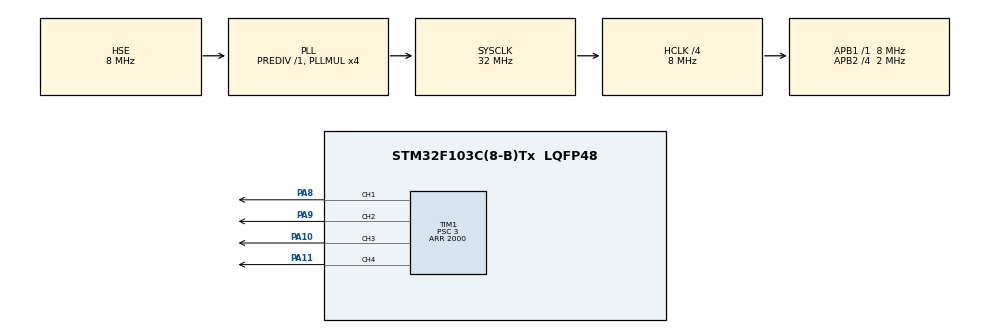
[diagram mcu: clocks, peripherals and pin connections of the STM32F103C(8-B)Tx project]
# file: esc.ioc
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Mcu.Family=STM32F1
Mcu.Name=STM32F103C(8-B)Tx
Mcu.Package=LQFP48
NVIC.PriorityGroup=NVIC_PRIORITYGROUP_4
PA10.Signal=S_TIM1_CH3
PA11.Signal=S_TIM1_CH4
PA13.Mode=Serial_Wire
PA13.Signal=SYS_JTMS-SWDIO
PA14.Mode=Serial_Wire
PA14.Signal=SYS_JTCK-SWCLK
PA8.Signal=S_TIM1_CH1
PA9.Signal=S_TIM1_CH2
PD0-OSC_IN.Mode=HSE-External-Oscillator
PD0-OSC_IN.Signal=RCC_OSC_IN
PD1-OSC_OUT.Mode=HSE-External-Oscillator
PD1-OSC_OUT.Signal=RCC_OSC_OUT
ProjectManager.HeapSize=0x200
ProjectManager.StackSize=0x400
ProjectManager.TargetToolchain=STM32CubeIDE
RCC.AHBCLKDivider=RCC_SYSCLK_DIV4
RCC.AHBFreq_Value=8000000
RCC.APB1Freq_Value=8000000
RCC.APB1TimFreq_Value=8000000
RCC.APB2CLKDivider=RCC_HCLK_DIV4
RCC.APB2Freq_Value=2000000
RCC.APB2TimFreq_Value=4000000
RCC.HCLKFreq_Value=8000000
RCC.PLLMUL=RCC_PLL_MUL4
RCC.PLLSourceVirtual=RCC_PLLSOURCE_HSE
RCC.SYSCLKFreq_VALUE=32000000
RCC.SYSCLKSource=RCC_SYSCLKSOURCE_PLLCLK
RCC.USBFreq_Value=32000000
SH.S_TIM1_CH1.0=TIM1_CH1,PWM Generation1 CH1
SH.S_TIM1_CH2.0=TIM1_CH2,PWM Generation2 CH2
SH.S_TIM1_CH3.0=TIM1_CH3,PWM Generation3 CH3
SH.S_TIM1_CH4.0=TIM1_CH4,PWM Generation4 CH4
TIM1.AutoReloadPreload=TIM_AUTORELOAD_PRELOAD_DISABLE
TIM1.Channel-PWM\ Generation1\ CH1=TIM_CHANNEL_1
TIM1.Channel-PWM\ Generation2\ CH2=TIM_CHANNEL_2
TIM1.Channel-PWM\ Generation3\ CH3=TIM_CHANNEL_3
TIM1.Channel-PWM\ Generation4\ CH4=TIM_CHANNEL_4
TIM1.Period=2000
TIM1.Prescaler=3
TIM1.Pulse-PWM\ Generation1\ CH1=100
VP_TIM1_VS_ClockSourceINT.Mode=Internal
board=custom

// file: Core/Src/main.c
/* USER CODE BEGIN Header */
/**
  ******************************************************************************
  * @file           : main.c
  * @brief          : Main program body
  ******************************************************************************
  * @attention
  *
  * <h2><center>&copy; Copyright (c) 2019 STMicroelectronics.
  * All rights reserved.</center></h2>
  *
  * This software component is licensed by ST under BSD 3-Clause license,
  * the "License"; You may not use this file except in compliance with the
  * License. You may obtain a copy of the License at:
  *                        opensource.org/licenses/BSD-3-Clause
  *
  ******************************************************************************
  */
/* USER CODE END Header */

#include "main.h"

TIM_HandleTypeDef htim1;

void SystemClock_Config(void);
static void MX_GPIO_Init(void);
static void MX_TIM1_Init(void);

int main(void)
{

  /* MCU Configuration--------------------------------------------------------*/

  /* Reset of all peripherals, Initializes the Flash interface and the Systick. */
  HAL_Init();

  /* Configure the system clock */
  SystemClock_Config();

  /* Initialize all configured peripherals */
  MX_GPIO_Init();
  MX_TIM1_Init();
  /* USER CODE BEGIN 2 */

// Start PWM at Port-B pin#6
    HAL_TIM_PWM_Start(&htim1,TIM_CHANNEL_1);
    HAL_TIM_PWM_Start(&htim1,TIM_CHANNEL_2);
    HAL_TIM_PWM_Start(&htim1,TIM_CHANNEL_3);
    HAL_TIM_PWM_Start(&htim1,TIM_CHANNEL_4);
    __HAL_TIM_SET_COMPARE(&htim1, TIM_CHANNEL_1, 1000);
    __HAL_TIM_SET_COMPARE(&htim1, TIM_CHANNEL_2, 1000);
    __HAL_TIM_SET_COMPARE(&htim1, TIM_CHANNEL_3, 1000);
    __HAL_TIM_SET_COMPARE(&htim1, TIM_CHANNEL_4, 1000);
    HAL_Delay(3000);
  /* USER CODE END 2 */

  /* Infinite loop */
  while (1)
  {

    /* USER CODE BEGIN 3 */
      for(int i = 1000; i< 1900; i+=10){
	  __HAL_TIM_SET_COMPARE(&htim1, TIM_CHANNEL_1, i);
	  __HAL_TIM_SET_COMPARE(&htim1, TIM_CHANNEL_2, i);
	  __HAL_TIM_SET_COMPARE(&htim1, TIM_CHANNEL_3, i);
	  __HAL_TIM_SET_COMPARE(&htim1, TIM_CHANNEL_4, i);
	  HAL_Delay(100);
      }
      for(int i = 1900; i> 1000; i-=10){
   	  __HAL_TIM_SET_COMPARE(&htim1, TIM_CHANNEL_1, i);
   	  __HAL_TIM_SET_COMPARE(&htim1, TIM_CHANNEL_2, i);
	  __HAL_TIM_SET_COMPARE(&htim1, TIM_CHANNEL_3, i);
	  __HAL_TIM_SET_COMPARE(&htim1, TIM_CHANNEL_4, i);
   	  HAL_Delay(100);
         }

//	  __HAL_TIM_SET_COMPARE(&htim4, TIM_CHANNEL_1, 100);
  }
  /* USER CODE END 3 */
}

void SystemClock_Config(void)
{
  RCC_OscInitTypeDef RCC_OscInitStruct = {0};
  RCC_ClkInitTypeDef RCC_ClkInitStruct = {0};

  /** Initializes the CPU, AHB and APB busses clocks
  */
  RCC_OscInitStruct.OscillatorType = RCC_OSCILLATORTYPE_HSE;
  RCC_OscInitStruct.HSEState = RCC_HSE_ON;
  RCC_OscInitStruct.HSEPredivValue = RCC_HSE_PREDIV_DIV1;
  RCC_OscInitStruct.HSIState = RCC_HSI_ON;
  RCC_OscInitStruct.PLL.PLLState = RCC_PLL_ON;
  RCC_OscInitStruct.PLL.PLLSource = RCC_PLLSOURCE_HSE;
  RCC_OscInitStruct.PLL.PLLMUL = RCC_PLL_MUL4;
  if (HAL_RCC_OscConfig(&RCC_OscInitStruct) != HAL_OK)
  {
    Error_Handler();
  }
  /** Initializes the CPU, AHB and APB busses clocks
  */
  RCC_ClkInitStruct.ClockType = RCC_CLOCKTYPE_HCLK|RCC_CLOCKTYPE_SYSCLK
                              |RCC_CLOCKTYPE_PCLK1|RCC_CLOCKTYPE_PCLK2;
  RCC_ClkInitStruct.SYSCLKSource = RCC_SYSCLKSOURCE_PLLCLK;
  RCC_ClkInitStruct.AHBCLKDivider = RCC_SYSCLK_DIV4;
  RCC_ClkInitStruct.APB1CLKDivider = RCC_HCLK_DIV1;
  RCC_ClkInitStruct.APB2CLKDivider = RCC_HCLK_DIV4;

  if (HAL_RCC_ClockConfig(&RCC_ClkInitStruct, FLASH_LATENCY_1) != HAL_OK)
  {
    Error_Handler();
  }
}

static void MX_TIM1_Init(void)
{

  TIM_ClockConfigTypeDef sClockSourceConfig = {0};
  TIM_MasterConfigTypeDef sMasterConfig = {0};
  TIM_OC_InitTypeDef sConfigOC = {0};
  TIM_BreakDeadTimeConfigTypeDef sBreakDeadTimeConfig = {0};

  htim1.Instance = TIM1;
  htim1.Init.Prescaler = 3;
  htim1.Init.CounterMode = TIM_COUNTERMODE_UP;
  htim1.Init.Period = 2000;
  htim1.Init.ClockDivision = TIM_CLOCKDIVISION_DIV1;
  htim1.Init.RepetitionCounter = 0;
  htim1.Init.AutoReloadPreload = TIM_AUTORELOAD_PRELOAD_DISABLE;
  if (HAL_TIM_Base_Init(&htim1) != HAL_OK)
  {
    Error_Handler();
  }
  sClockSourceConfig.ClockSource = TIM_CLOCKSOURCE_INTERNAL;
  if (HAL_TIM_ConfigClockSource(&htim1, &sClockSourceConfig) != HAL_OK)
  {
    Error_Handler();
  }
  if (HAL_TIM_PWM_Init(&htim1) != HAL_OK)
  {
    Error_Handler();
  }
  sMasterConfig.MasterOutputTrigger = TIM_TRGO_RESET;
  sMasterConfig.MasterSlaveMode = TIM_MASTERSLAVEMODE_DISABLE;
  if (HAL_TIMEx_MasterConfigSynchronization(&htim1, &sMasterConfig) != HAL_OK)
  {
    Error_Handler();
  }
  sConfigOC.OCMode = TIM_OCMODE_PWM1;
  sConfigOC.Pulse = 100;
  sConfigOC.OCPolarity = TIM_OCPOLARITY_HIGH;
  sConfigOC.OCNPolarity = TIM_OCNPOLARITY_HIGH;
  sConfigOC.OCFastMode = TIM_OCFAST_DISABLE;
  sConfigOC.OCIdleState = TIM_OCIDLESTATE_RESET;
  sConfigOC.OCNIdleState = TIM_OCNIDLESTATE_RESET;
  if (HAL_TIM_PWM_ConfigChannel(&htim1, &sConfigOC, TIM_CHANNEL_1) != HAL_OK)
  {
    Error_Handler();
  }
  sConfigOC.Pulse = 0;
  if (HAL_TIM_PWM_ConfigChannel(&htim1, &sConfigOC, TIM_CHANNEL_2) != HAL_OK)
  {
    Error_Handler();
  }
  if (HAL_TIM_PWM_ConfigChannel(&htim1, &sConfigOC, TIM_CHANNEL_3) != HAL_OK)
  {
    Error_Handler();
  }
  if (HAL_TIM_PWM_ConfigChannel(&htim1, &sConfigOC, TIM_CHANNEL_4) != HAL_OK)
  {
    Error_Handler();
  }
  sBreakDeadTimeConfig.OffStateRunMode = TIM_OSSR_DISABLE;
  sBreakDeadTimeConfig.OffStateIDLEMode = TIM_OSSI_DISABLE;
  sBreakDeadTimeConfig.LockLevel = TIM_LOCKLEVEL_OFF;
  sBreakDeadTimeConfig.DeadTime = 0;
  sBreakDeadTimeConfig.BreakState = TIM_BREAK_DISABLE;
  sBreakDeadTimeConfig.BreakPolarity = TIM_BREAKPOLARITY_HIGH;
  sBreakDeadTimeConfig.AutomaticOutput = TIM_AUTOMATICOUTPUT_DISABLE;
  if (HAL_TIMEx_ConfigBreakDeadTime(&htim1, &sBreakDeadTimeConfig) != HAL_OK)
  {
    Error_Handler();
  }
  HAL_TIM_MspPostInit(&htim1);

}

static void MX_GPIO_Init(void)
{

  /* GPIO Ports Clock Enable */
  __HAL_RCC_GPIOD_CLK_ENABLE();
  __HAL_RCC_GPIOA_CLK_ENABLE();

}

void Error_Handler(void)
{
}

/************************ (C) COPYRIGHT STMicroelectronics *****END OF FILE****/
